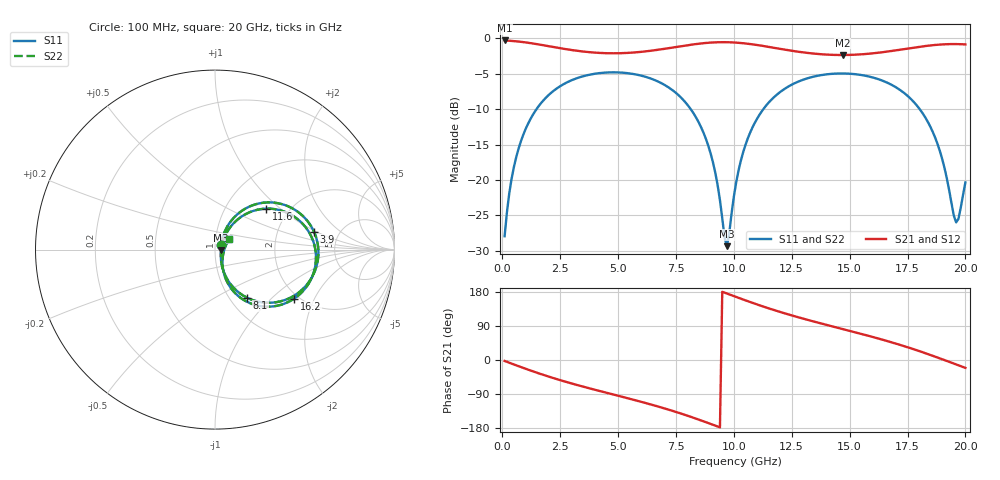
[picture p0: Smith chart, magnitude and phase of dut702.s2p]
! Touchstone file exported from HFSS 2026.1.0
!  File:  C:/ffzhzh/LocalFiles/Ansys_Project_Files/temp_train_TSV_RDL_702_1783199035_22436.aedt
!  Generated:  05:17:17 AM Jul  5, 2026
!  Design:  TSV_RDL
!  Project:  temp_train_TSV_RDL_702_1783199035_22436
! Variables:
!  h_bsmrdl = 3.61um
!  h_ox = 20um
!  h_rdl = 5um
!  h_sub = 59.72um
!  h_tmrdl = 4.36um
!  h_tsv = 59.72um
!  h_via = 3um
!  l_bsmrdl = 914.6um
!  l_sub = 6723.25um
!  l_tmrdl = 865.35um
!  m_sub = 200um
!  pitch = 47.81um
!  r_tsv = 6.78um
!  s_tmrdl = 10um
!  w_bsmrdl = 14.13um
!  w_sub = 500um
!  w_tmrdl = 25.22um
!  x_tsv_center1 = 877.96um
!  x_tsv_center2 = 1806.69um
!  x_tsv_center3 = 2697.26um
!  x_tsv_center4 = 3625.99um
!  x_tsv_center5 = 4516.56um
!  x_tsv_center6 = 5445.29um
# GHz S MA R 50.000000
! Terminal data exported
! Port[1] = TM_RDL1_1_T1
! Port[2] = TM_RDL5_1_T1
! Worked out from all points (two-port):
!   200 points, 100 MHz to 20 GHz, reference 50 ohm
!   highest |S21| = -0.28 dB at 100 MHz (marker M1); lowest = -2.3 dB at 14.7 GHz (marker M2)
!   |S21| within 3 dB of the highest: start of sweep to end of sweep
!   lowest |S11| = -29.3 dB at 9.7 GHz (marker M3), VSWR 1.07, Z = 53.5 - j0.146 ohm
!   |S11| at or under -10 dB: start of sweep to 1.475 GHz; 8.14 GHz to 11.27 GHz (3.132 GHz wide, 32.3 % of centre); 18.03 GHz to end of sweep
!   |S22| runs from -29.3 to -4.8 dB; largest |S21 - S12| = 1.5e-14
!   S11 on the Smith chart (normalised r, x): 100 MHz: 1.07, +0.05; 3.9 GHz: 3.24, +0.95; 8.1 GHz: 1.20, -0.72; 11.6 GHz: 1.54, +0.81; 16.2 GHz: 1.89, -1.41; 20 GHz: 1.16, +0.13
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0.1  0.0401 36.6  0.9685 -2.4  0.9685 -2.4  0.0401 36.6
! Gamma 0 0 0 0
! Port Impedance 50 0 50 0
0.5  0.1233 61.9  0.9583 -11.8  0.9583 -11.8  0.1233 61.9
1.1  0.2474 56.6  0.9337 -25.2  0.9337 -25.2  0.2474 56.6
2.1  0.412 39.6  0.8767 -45.7  0.8767 -45.7  0.412 39.6
3.5  0.5415 16.5  0.8085 -70.5  0.8085 -70.5  0.5416 16.5
3.9  0.5601 10.4  0.7968 -77.0  0.7968 -77.0  0.5601 10.4
5.3  0.5714 -10.6  0.7893 -99.0  0.7893 -99.0  0.5714 -10.6
6.8  0.4901 -34.1  0.8357 -124.0  0.8357 -124.0  0.4901 -34.0
8.1  0.3231 -56.2  0.9013 -149.1  0.9013 -149.1  0.3232 -56.2
9  0.1535 -68.4  0.9355 -168.7  0.9355 -168.7  0.1536 -68.3
9.7  0.03409 -2.3  0.9415 175.4  0.9415 175.4  0.03423 -2.4
10.1  0.09609 53.9  0.9351 166.3  0.9351 166.3  0.0961 53.8
10.7  0.2155 52.7  0.914 153.0  0.914 153.0  0.2155 52.7
11.6  0.3663 38.6  0.8671 134.4  0.8671 134.4  0.3663 38.5
13.4  0.5355 9.6  0.7836 102.4  0.7836 102.4  0.5355 9.6
14.7  0.5661 -9.5  0.7644 81.7  0.7644 81.7  0.5661 -9.5
16.2  0.5186 -31.8  0.7919 57.4  0.7919 57.4  0.5187 -31.8
16.7  0.4809 -39.6  0.8113 48.7  0.8113 48.7  0.481 -39.6
18.5  0.2355 -67.4  0.8936 13.0  0.8936 13.0  0.2355 -67.4
19  0.1405 -69.4  0.9081 2.0  0.9081 2.0  0.1405 -69.5
19.6  0.05018 -17.6  0.9132 -11.7  0.9132 -11.7  0.05008 -17.7
20  0.09622 36.3  0.9082 -20.8  0.9082 -20.8  0.09608 36.4
